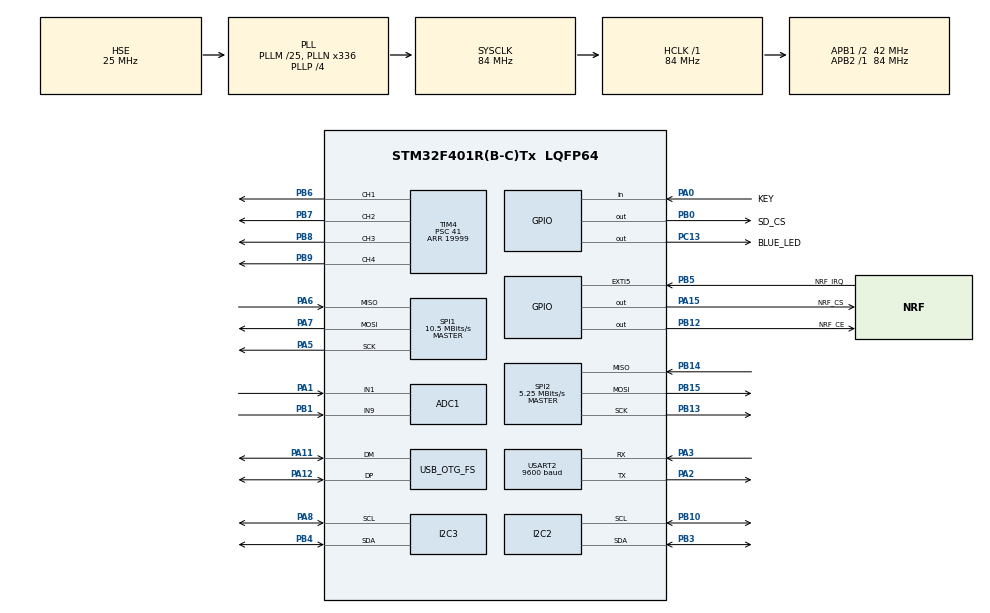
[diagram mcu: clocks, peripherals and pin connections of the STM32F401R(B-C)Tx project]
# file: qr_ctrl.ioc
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ADC1.Channel-1\#ChannelRegularConversion=ADC_CHANNEL_1
ADC1.Channel-2\#ChannelRegularConversion=ADC_CHANNEL_9
ADC1.ClockPrescaler=ADC_CLOCK_SYNC_PCLK_DIV8
ADC1.DMAContinuousRequests=ENABLE
ADC1.EOCSelection=ADC_EOC_SEQ_CONV
ADC1.ExternalTrigConv=ADC_EXTERNALTRIGCONV_T4_CC4
ADC1.InjNumberOfConversion=0
ADC1.NbrOfConversion=2
ADC1.NbrOfConversionFlag=1
ADC1.Rank-1\#ChannelRegularConversion=1
ADC1.Rank-2\#ChannelRegularConversion=2
ADC1.SamplingTime-1\#ChannelRegularConversion=ADC_SAMPLETIME_480CYCLES
ADC1.SamplingTime-2\#ChannelRegularConversion=ADC_SAMPLETIME_480CYCLES
ADC1.master=1
Dma.ADC1.4.Direction=DMA_PERIPH_TO_MEMORY
Dma.ADC1.4.FIFOMode=DMA_FIFOMODE_DISABLE
Dma.ADC1.4.Instance=DMA2_Stream4
Dma.ADC1.4.MemDataAlignment=DMA_MDATAALIGN_HALFWORD
Dma.ADC1.4.MemInc=DMA_MINC_ENABLE
Dma.ADC1.4.Mode=DMA_CIRCULAR
Dma.ADC1.4.PeriphDataAlignment=DMA_PDATAALIGN_HALFWORD
Dma.ADC1.4.PeriphInc=DMA_PINC_DISABLE
Dma.ADC1.4.Priority=DMA_PRIORITY_LOW
Dma.I2C2_RX.0.Direction=DMA_PERIPH_TO_MEMORY
Dma.I2C2_RX.0.FIFOMode=DMA_FIFOMODE_DISABLE
Dma.I2C2_RX.0.Instance=DMA1_Stream2
Dma.I2C2_RX.0.MemDataAlignment=DMA_MDATAALIGN_BYTE
Dma.I2C2_RX.0.MemInc=DMA_MINC_ENABLE
Dma.I2C2_RX.0.Mode=DMA_NORMAL
Dma.I2C2_RX.0.PeriphDataAlignment=DMA_PDATAALIGN_BYTE
Dma.I2C2_RX.0.PeriphInc=DMA_PINC_DISABLE
Dma.I2C2_RX.0.Priority=DMA_PRIORITY_MEDIUM
Dma.I2C2_TX.1.Direction=DMA_MEMORY_TO_PERIPH
Dma.I2C2_TX.1.FIFOMode=DMA_FIFOMODE_DISABLE
Dma.I2C2_TX.1.Instance=DMA1_Stream7
Dma.I2C2_TX.1.MemDataAlignment=DMA_MDATAALIGN_BYTE
Dma.I2C2_TX.1.MemInc=DMA_MINC_ENABLE
Dma.I2C2_TX.1.Mode=DMA_NORMAL
Dma.I2C2_TX.1.PeriphDataAlignment=DMA_PDATAALIGN_BYTE
Dma.I2C2_TX.1.PeriphInc=DMA_PINC_DISABLE
Dma.I2C2_TX.1.Priority=DMA_PRIORITY_MEDIUM
Dma.Request0=I2C2_RX
Dma.Request1=I2C2_TX
Dma.Request2=SPI1_RX
Dma.Request3=SPI1_TX
Dma.Request4=ADC1
Dma.Request5=SPI2_RX
Dma.Request6=SPI2_TX
Dma.SPI1_RX.2.Direction=DMA_PERIPH_TO_MEMORY
Dma.SPI1_RX.2.FIFOMode=DMA_FIFOMODE_DISABLE
Dma.SPI1_RX.2.Instance=DMA2_Stream0
Dma.SPI1_RX.2.MemDataAlignment=DMA_MDATAALIGN_BYTE
Dma.SPI1_RX.2.MemInc=DMA_MINC_ENABLE
Dma.SPI1_RX.2.Mode=DMA_NORMAL
Dma.SPI1_RX.2.PeriphDataAlignment=DMA_PDATAALIGN_BYTE
Dma.SPI1_RX.2.PeriphInc=DMA_PINC_DISABLE
Dma.SPI1_RX.2.Priority=DMA_PRIORITY_LOW
Dma.SPI1_TX.3.Direction=DMA_MEMORY_TO_PERIPH
Dma.SPI1_TX.3.FIFOMode=DMA_FIFOMODE_DISABLE
Dma.SPI1_TX.3.Instance=DMA2_Stream3
Dma.SPI1_TX.3.MemDataAlignment=DMA_MDATAALIGN_BYTE
Dma.SPI1_TX.3.MemInc=DMA_MINC_ENABLE
Dma.SPI1_TX.3.Mode=DMA_NORMAL
Dma.SPI1_TX.3.PeriphDataAlignment=DMA_PDATAALIGN_BYTE
Dma.SPI1_TX.3.PeriphInc=DMA_PINC_DISABLE
Dma.SPI1_TX.3.Priority=DMA_PRIORITY_LOW
Dma.SPI2_RX.5.Direction=DMA_PERIPH_TO_MEMORY
Dma.SPI2_RX.5.FIFOMode=DMA_FIFOMODE_DISABLE
Dma.SPI2_RX.5.Instance=DMA1_Stream3
Dma.SPI2_RX.5.MemDataAlignment=DMA_MDATAALIGN_BYTE
Dma.SPI2_RX.5.MemInc=DMA_MINC_ENABLE
Dma.SPI2_RX.5.Mode=DMA_NORMAL
Dma.SPI2_RX.5.PeriphDataAlignment=DMA_PDATAALIGN_BYTE
Dma.SPI2_RX.5.PeriphInc=DMA_PINC_DISABLE
Dma.SPI2_RX.5.Priority=DMA_PRIORITY_MEDIUM
Dma.SPI2_TX.6.Direction=DMA_MEMORY_TO_PERIPH
Dma.SPI2_TX.6.FIFOMode=DMA_FIFOMODE_DISABLE
Dma.SPI2_TX.6.Instance=DMA1_Stream4
Dma.SPI2_TX.6.MemDataAlignment=DMA_MDATAALIGN_BYTE
Dma.SPI2_TX.6.MemInc=DMA_MINC_ENABLE
Dma.SPI2_TX.6.Mode=DMA_NORMAL
Dma.SPI2_TX.6.PeriphDataAlignment=DMA_PDATAALIGN_BYTE
Dma.SPI2_TX.6.PeriphInc=DMA_PINC_DISABLE
Dma.SPI2_TX.6.Priority=DMA_PRIORITY_MEDIUM
I2C2.I2C_Mode=I2C_Fast
I2C3.I2C_Mode=I2C_Standard
Mcu.Family=STM32F4
Mcu.Name=STM32F401R(B-C)Tx
Mcu.Package=LQFP64
NVIC.DMA1_Stream2_IRQn=true\:7\:0\:true\:false\:true\:false\:true\:true
NVIC.DMA1_Stream3_IRQn=true\:7\:0\:true\:false\:true\:false\:true\:true
NVIC.DMA1_Stream4_IRQn=true\:7\:0\:true\:false\:true\:false\:true\:true
NVIC.DMA1_Stream7_IRQn=true\:7\:0\:true\:false\:true\:false\:true\:true
NVIC.DMA2_Stream0_IRQn=true\:8\:0\:true\:false\:true\:false\:true\:true
NVIC.DMA2_Stream3_IRQn=true\:8\:0\:true\:false\:true\:false\:true\:true
NVIC.DMA2_Stream4_IRQn=true\:8\:0\:true\:false\:true\:false\:true\:true
NVIC.EXTI9_5_IRQn=true\:7\:0\:true\:false\:true\:true\:true\:true
NVIC.I2C3_EV_IRQn=true\:8\:0\:true\:false\:true\:true\:true\:true
NVIC.OTG_FS_IRQn=true\:6\:0\:true\:false\:true\:false\:true\:true
NVIC.PriorityGroup=NVIC_PRIORITYGROUP_4
NVIC.TIM1_BRK_TIM9_IRQn=true\:5\:0\:true\:false\:true\:true\:true\:true
NVIC.TIM1_UP_TIM10_IRQn=true\:15\:0\:false\:false\:true\:false\:true\:true
NVIC.TimeBase=TIM1_UP_TIM10_IRQn
NVIC.TimeBaseIP=TIM1
NVIC.USART2_IRQn=true\:6\:0\:true\:false\:false\:true\:false\:true
PA0-WKUP.GPIO_Label=KEY
PA0-WKUP.Signal=GPIO_Input
PA1.Signal=ADCx_IN1
PA11.Mode=Device_Only
PA11.Signal=USB_OTG_FS_DM
PA12.Mode=Device_Only
PA12.Signal=USB_OTG_FS_DP
PA13.Mode=Serial_Wire
PA13.Signal=SYS_JTMS-SWDIO
PA14.Mode=Serial_Wire
PA14.Signal=SYS_JTCK-SWCLK
PA15.GPIO_Label=NRF_CS
PA15.GPIO_Speed=GPIO_SPEED_FREQ_HIGH
PA15.PinState=GPIO_PIN_SET
PA15.Signal=GPIO_Output
PA2.GPIO_Speed=GPIO_SPEED_FREQ_LOW
PA2.Mode=Asynchronous
PA2.Signal=USART2_TX
PA3.GPIO_Speed=GPIO_SPEED_FREQ_LOW
PA3.Mode=Asynchronous
PA3.Signal=USART2_RX
PA5.GPIO_Speed=GPIO_SPEED_FREQ_HIGH
PA5.Mode=Full_Duplex_Master
PA5.Signal=SPI1_SCK
PA6.GPIO_Speed=GPIO_SPEED_FREQ_HIGH
PA6.Mode=Full_Duplex_Master
PA6.Signal=SPI1_MISO
PA7.GPIO_Speed=GPIO_SPEED_FREQ_HIGH
PA7.Mode=Full_Duplex_Master
PA7.Signal=SPI1_MOSI
PA8.GPIO_Speed=GPIO_SPEED_FREQ_MEDIUM
PA8.Mode=I2C
PA8.Signal=I2C3_SCL
PB0.GPIO_Label=SD_CS
PB0.GPIO_Speed=GPIO_SPEED_FREQ_HIGH
PB0.PinState=GPIO_PIN_SET
PB0.Signal=GPIO_Output
PB1.Signal=ADCx_IN9
PB10.GPIO_Speed=GPIO_SPEED_FREQ_MEDIUM
PB10.Mode=I2C
PB10.Signal=I2C2_SCL
PB12.GPIO_Label=NRF_CE
PB12.GPIO_Speed=GPIO_SPEED_FREQ_LOW
PB12.Signal=GPIO_Output
PB13.GPIO_Speed=GPIO_SPEED_FREQ_HIGH
PB13.Mode=Full_Duplex_Master
PB13.Signal=SPI2_SCK
PB14.GPIO_Speed=GPIO_SPEED_FREQ_HIGH
PB14.Mode=Full_Duplex_Master
PB14.Signal=SPI2_MISO
PB15.GPIO_Speed=GPIO_SPEED_FREQ_HIGH
PB15.Mode=Full_Duplex_Master
PB15.Signal=SPI2_MOSI
PB3.GPIO_Speed=GPIO_SPEED_FREQ_MEDIUM
PB3.Mode=I2C
PB3.Signal=I2C2_SDA
PB4.GPIO_Speed=GPIO_SPEED_FREQ_MEDIUM
PB4.Mode=I2C
PB4.Signal=I2C3_SDA
PB5.GPIO_Label=NRF_IRQ
PB5.GPIO_ModeDefaultEXTI=GPIO_MODE_IT_FALLING
PB5.GPIO_PuPd=GPIO_NOPULL
PB5.Signal=GPXTI5
PB6.Signal=S_TIM4_CH1
PB7.Signal=S_TIM4_CH2
PB8.Signal=S_TIM4_CH3
PB9.Signal=S_TIM4_CH4
PC13-ANTI_TAMP.GPIO_Label=BLUE_LED
PC13-ANTI_TAMP.GPIO_PuPd=GPIO_PULLDOWN
PC13-ANTI_TAMP.Signal=GPIO_Output
PC14-OSC32_IN.Mode=LSE-External-Oscillator
PC14-OSC32_IN.Signal=RCC_OSC32_IN
PC15-OSC32_OUT.Mode=LSE-External-Oscillator
PC15-OSC32_OUT.Signal=RCC_OSC32_OUT
PH0\ -\ OSC_IN.Mode=HSE-External-Oscillator
PH0\ -\ OSC_IN.Signal=RCC_OSC_IN
PH1\ -\ OSC_OUT.Mode=HSE-External-Oscillator
PH1\ -\ OSC_OUT.Signal=RCC_OSC_OUT
ProjectManager.HeapSize=0x200
ProjectManager.StackSize=0x400
ProjectManager.TargetToolchain=Makefile
RCC.48MHZClocksFreq_Value=48000000
RCC.AHBFreq_Value=84000000
RCC.APB1CLKDivider=RCC_HCLK_DIV2
RCC.APB1Freq_Value=42000000
RCC.APB1TimFreq_Value=84000000
RCC.APB2Freq_Value=84000000
RCC.APB2TimFreq_Value=84000000
RCC.CortexFreq_Value=84000000
RCC.HCLKFreq_Value=84000000
RCC.HSE_VALUE=25000000
RCC.HSI_VALUE=16000000
RCC.PLLM=25
RCC.PLLN=336
RCC.PLLP=RCC_PLLP_DIV4
RCC.PLLQ=7
RCC.SYSCLKFreq_VALUE=84000000
RCC.SYSCLKSource=RCC_SYSCLKSOURCE_PLLCLK
RCC.VCOOutputFreq_Value=336000000
SH.ADCx_IN1.0=ADC1_IN1,IN1
SH.ADCx_IN9.0=ADC1_IN9,IN9
SH.S_TIM4_CH1.0=TIM4_CH1,PWM Generation1 CH1
SH.S_TIM4_CH2.0=TIM4_CH2,PWM Generation2 CH2
SH.S_TIM4_CH3.0=TIM4_CH3,PWM Generation3 CH3
SH.S_TIM4_CH4.0=TIM4_CH4,PWM Generation4 CH4
SPI1.BaudRatePrescaler=SPI_BAUDRATEPRESCALER_8
SPI1.CLKPhase=SPI_PHASE_2EDGE
SPI1.CLKPolarity=SPI_POLARITY_HIGH
SPI1.CalculateBaudRate=10.5 MBits/s
SPI1.Direction=SPI_DIRECTION_2LINES
SPI1.Mode=SPI_MODE_MASTER
SPI1.VirtualType=VM_MASTER
SPI2.BaudRatePrescaler=SPI_BAUDRATEPRESCALER_8
SPI2.CalculateBaudRate=5.25 MBits/s
SPI2.Direction=SPI_DIRECTION_2LINES
SPI2.Mode=SPI_MODE_MASTER
SPI2.VirtualType=VM_MASTER
TIM4.Channel-PWM\ Generation1\ CH1=TIM_CHANNEL_1
TIM4.Channel-PWM\ Generation2\ CH2=TIM_CHANNEL_2
TIM4.Channel-PWM\ Generation3\ CH3=TIM_CHANNEL_3
TIM4.Channel-PWM\ Generation4\ CH4=TIM_CHANNEL_4
TIM4.Period=19999
TIM4.Prescaler=41
TIM9.Period=999
TIM9.Prescaler=83
USART2.BaudRate=9600
USART2.Mode=MODE_RX
USART2.VirtualMode=VM_ASYNC
USB_DEVICE.CLASS_NAME_FS=CDC
USB_DEVICE.VirtualMode=Cdc
USB_DEVICE.VirtualModeFS=Cdc_FS
USB_OTG_FS.VirtualMode=Device_Only
VP_SYS_VS_tim1.Mode=TIM1
VP_TIM9_VS_ClockSourceINT.Mode=Internal
VP_USB_DEVICE_VS_USB_DEVICE_CDC_FS.Mode=CDC_FS
board=custom

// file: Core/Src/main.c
/* USER CODE BEGIN Header */
/**
 ******************************************************************************
 * @file           : main.c
 * @brief          : Main program body
 ******************************************************************************
 * @attention
 *
 * Copyright (c) 2022 STMicroelectronics.
 * All rights reserved.
 *
 * This software is licensed under terms that can be found in the LICENSE file
 * in the root directory of this software component.
 * If no LICENSE file comes with this software, it is provided AS-IS.
 *
 ******************************************************************************
 */
/* USER CODE END Header */
#include "main.h"
#include "adc.h"
#include "dma.h"
#include "i2c.h"
#include "spi.h"
#include "tim.h"
#include "usart.h"
#include "usb_device.h"
#include "gpio.h"

/* USER CODE BEGIN Includes */
#include "usbd_cdc_if.h"
#include "dwt_delay.h"
#include "FreeRTOS.h"
#include "task.h"
#include "stream_buffer.h"
#include "rtos_bus.h"
#include "lps22hb.h"
// #include "icm20948.h"
#include "ak09916.h"
#include "VL53L1X_api.h"
#include "nrf24l01p.h"
#include "nrf_payload.h"
#include "math.h"
#include "ahrs.h"
#include "diskio.h"
#include "sd_record.h"
#include "mpu9250.h"
/* USER CODE END Includes */

/* USER CODE BEGIN PD */

/* Enable/Disable tasks */
#define RADIO_TASK
#define SENSOR_TASK
// #define TOF_TASK
#define GPS_TASK
#define SD_TASK
#define ADC_TASK
#define CTRL_TASK
#define MSG_TASK

/* ESC calibration mode */
#define ESC_CALIBRATION

/* Module initialize failed number */
enum module_init_failed_id {
  MODULE_FAILED_NRF24L01P,
  MODULE_FAILED_TOF,
  MODULE_FAILED_LPS22HB,
  MODULE_FAILED_MPU9250,
  MODULE_FAILED_AK8963
};

#define VL53L1X_ADDR        0x52

#define CTRL_FREQ           100
#define MOTOR_DUTY_RANGE    2000 /* esc standard: 1-2ms, pwm arr: 2000-3999 */
#define MOTOR_CTRL_RANGE    MOTOR_DUTY_RANGE * 0.2
#define MOTOR_INITIAL_DUTY  0  /* max: 1999, must more than zero to lock ESC */
#define MAX_THROTTLE        MOTOR_DUTY_RANGE * 0.9 /* max:  90% duty */

#define MIN_THRUST          0.35F
#define MAX_THRUST          7.0F

#define TIME_PER_TICK       0.002F

#define RAD2DEG             57.29577F
#define DEG2RAD             0.017453292F

/* GPS buffer size */
#define GPS_BUFFER_SIZE     128

/* SD card recording buffer size */
#define SD_BUFFER_SIZE      2048
#define SD_BUFFER_LEVEL     512

/* SD recording mode configuration */
// #define REC_ONE_CYCLE_MODE
#define REC_CYCLE_MS        10000
#define REC_THROTTLE_TRIGGER_MODE

/* Select SD recording data */
#define REC_IMU
#define REC_MAG
#define REC_BARO
// #define REC_TOF
// #define REC_BATTERY
#define REC_ATT
#define REC_CTRL

/* GPS header and address ID of NAV_SOL */
#define GPS_HEADER_1        0xB5 /* Sync char 1 */
#define GPS_HEADER_2        0x62 /* Sync char 2 */
#define GPS_NAV             0x01 /* Class */
#define GPS_NAV_SOL         0x06 /* ID */
/* GPS get symbol status */
#define GPS_RECEIVE_SYNC_1    0
#define GPS_RECEIVE_SYNC_2    1
#define GPS_RECEIVE_DATA      2

/* ADC moving average window size */
#define ADC_MA_WINDOW_SIZE    10
/* USER CODE END PD */

/* USER CODE BEGIN PM */
#define ENU2NED(enu_x, enu_y, enu_z)  \
  do {                                \
    float tmp = enu_x;                \
                                      \
    enu_x = enu_y;                    \
    enu_y = tmp;                      \
    enu_z = -enu_z;                   \
  } while (0)
/* USER CODE END PM */

/* USER CODE BEGIN PV */
TaskHandle_t radio_handler;
TaskHandle_t sensor_handler;
TaskHandle_t tof_handler;
TaskHandle_t gps_handler;
TaskHandle_t sd_handler;
TaskHandle_t adc_handler;
TaskHandle_t ctrl_handler;
TaskHandle_t msg_handler;

StreamBufferHandle_t sd_buf_handler;
/* Use sensor task(same as systick) to store current tick */
TickType_t current_tick;

struct payload pl;
struct ack_payload ack_pl;

struct sensor_data {
  float ax;
  float ay;
  float az;
  float gx;
  float gy;
  float gz;
  float mx;
  float my;
  float mz;
  float pressure;
  float temperature;
  uint16_t distance;
} sensor;

struct attitude {
  float q[4];
  float roll;
  float pitch;
  float yaw;
  float sp_roll;
  float sp_pitch;
  float sp_yaw;
} att;

struct position {
  float distance;
  float height;
  float sp_height;
} pos;

float world_linear_az;
struct battery {
  float voltage;
  float current;
} bat;

uint16_t throttle;
uint16_t motor[4];

struct ctrl_parameter {
  float P;
  float I;
  float D;
  uint8_t mode;
} ctrl_param;

float fault_ratio;
int motor_fault_id;

uint8_t motor_bias[4];

/* Variable of sd spi timer (ms) */
WORD Timer1, Timer2;

/* SD card recording status (don't need suspend task) */
uint8_t rec_status = REC_STATUS_PROCESS_INIT;

/* GPS buffer (transfer by double buffer) */
uint8_t gps_buffer[2][GPS_BUFFER_SIZE];
uint8_t gps_rx_buf_id;
uint8_t *gps_rx_ptr;
uint16_t gps_rx_cnt;
uint8_t gps_receive_status;
uint8_t gps_sv_status; /* 0: cksum not pass or svNum = 0, else: svNum */
uint16_t gps_data_length;
struct gps_nav_sol {
  uint32_t iTOW;
  int32_t fTOW;
  int16_t week;
  uint8_t gpsFix;
  int8_t flags;
  int32_t ecefX;
  int32_t ecefY;
  int32_t ecefZ;
  uint32_t pAcc;
  int32_t ecefVX;
  int32_t ecefVY;
  int32_t ecefVZ;
  uint32_t sAcc;
  uint16_t pDOP;
  uint8_t reserved1;
  uint8_t numSV;
  uint32_t reserved2;
};
struct gps_nav_sol *gps_nav_sol_data;
/* USER CODE END PV */

void SystemClock_Config(void);
/* USER CODE BEGIN PFP */
static void radio_task(void *param);
static void sensor_task(void *param);
static void tof_task(void *param);
static void gps_task(void *param);
static void sd_task(void *param);
static void adc_task(void *param);
static void ctrl_task(void *param);
static void msg_task(void *param);

void module_init_failed(enum module_init_failed_id id)
{
  char msg[100], len, count;

  switch (id) {
  case MODULE_FAILED_NRF24L01P:
    len = snprintf(msg, 100, "Initialize NRF24L01+ failed...\n");
    break;
  case MODULE_FAILED_TOF:
    len = snprintf(msg, 100, "Initialize TOF module failed...\n");
    break;
  case MODULE_FAILED_LPS22HB:
    len = snprintf(msg, 100, "Initialize LPS22HB failed...\n");
    break;
  case MODULE_FAILED_MPU9250:
    len = snprintf(msg, 100, "Initialize MPU9250 failed...\n");
    break;
  case MODULE_FAILED_AK8963:
    len = snprintf(msg, 100, "Initialize AK8963 failed...\n");
    break;
  default:
    len = snprintf(msg, 100, "Initialize not defined failed...\n");
  }
  while (1) {
    CDC_Transmit_FS((uint8_t *)msg, len);
    count = id + 1;

    do {
      HAL_GPIO_TogglePin(BLUE_LED_GPIO_Port, BLUE_LED_Pin);
      HAL_Delay(250);
      HAL_GPIO_TogglePin(BLUE_LED_GPIO_Port, BLUE_LED_Pin);
      HAL_Delay(250);
    } while (--count);

    HAL_Delay(1000);
  }
}
extern void attitude_err(float q[4], float sp_r, float sp_p, float sp_y,
                         float err[3]);
/* USER CODE END PFP */

int main(void)
{

  /* MCU Configuration--------------------------------------------------------*/

  /* Reset of all peripherals, Initializes the Flash interface and the Systick. */
  HAL_Init();

  /* USER CODE BEGIN Init */
	BaseType_t status;
  /* USER CODE END Init */

  /* Configure the system clock */
  SystemClock_Config();

  /* USER CODE BEGIN SysInit */
  DWT_Init();
  /* USER CODE END SysInit */

  /* Initialize all configured peripherals */
  MX_GPIO_Init();
  MX_DMA_Init();
  MX_ADC1_Init();
  MX_I2C2_Init();
  MX_I2C3_Init();
  MX_SPI1_Init();
  MX_SPI2_Init();
  MX_TIM4_Init();
  MX_TIM9_Init();
  MX_USART2_UART_Init();
  MX_USB_DEVICE_Init();
  /* USER CODE BEGIN 2 */
  HAL_TIM_Base_Start_IT(&htim9);

  /* initialize global variable */
  memset(&sensor, 0, sizeof(struct sensor_data));
  memset(&att, 0, sizeof(struct attitude));
  memset(&pos, 0, sizeof(struct position));
  memset(&bat, 0, sizeof(struct battery));
  memset(&pl, 0, PAYLOAD_WIDTH);
  memset(&ack_pl, 0, ACK_PAYLOAD_WIDTH);
  memset(&ctrl_param, 0, sizeof(struct ctrl_parameter));
  memset(gps_buffer, 0, 2 * GPS_BUFFER_SIZE);
  fault_ratio = 0;
  motor_fault_id = 0;
  memset(motor_bias, 0, sizeof(motor_bias));

	#ifdef ESC_CALIBRATION
  __HAL_TIM_SET_COMPARE(&htim4, TIM_CHANNEL_1, MOTOR_DUTY_RANGE + 1999);
  __HAL_TIM_SET_COMPARE(&htim4, TIM_CHANNEL_2, MOTOR_DUTY_RANGE + 1999);
  __HAL_TIM_SET_COMPARE(&htim4, TIM_CHANNEL_3, MOTOR_DUTY_RANGE + 1999);
  __HAL_TIM_SET_COMPARE(&htim4, TIM_CHANNEL_4, MOTOR_DUTY_RANGE + 1999);
  HAL_TIM_PWM_Start(&htim4, TIM_CHANNEL_1);
  HAL_TIM_PWM_Start(&htim4, TIM_CHANNEL_2);
  HAL_TIM_PWM_Start(&htim4, TIM_CHANNEL_3);
  HAL_TIM_PWM_Start(&htim4, TIM_CHANNEL_4);

  HAL_Delay(3000);

  throttle = MOTOR_INITIAL_DUTY;
  for (uint8_t i = 0; i < 4; i++) {
    motor[i] = throttle;
  }
  __HAL_TIM_SET_COMPARE(&htim4, TIM_CHANNEL_1, MOTOR_DUTY_RANGE + motor[0]);
  __HAL_TIM_SET_COMPARE(&htim4, TIM_CHANNEL_2, MOTOR_DUTY_RANGE + motor[1]);
  __HAL_TIM_SET_COMPARE(&htim4, TIM_CHANNEL_3, MOTOR_DUTY_RANGE + motor[2]);
  __HAL_TIM_SET_COMPARE(&htim4, TIM_CHANNEL_4, MOTOR_DUTY_RANGE + motor[3]);
  #endif
  /* Wait 1 sec to power up and mechanical vibration */
  HAL_Delay(3000);

  set_bus_mode(BUS_POLLING_MODE); /* set bus to blocking mode */

#ifdef RADIO_TASK
  struct nrf24l01p_cfg nrf24l01p_param = {
    .mode = PRX_MODE,
    .crc_len = CRC_TWO_BYTES,
    .air_data_rate = _2Mbps,
    .output_power = _0dBm,
    .channel = 2502,
    .address_width = 5,
    .auto_retransmit_count = 6,
    .auto_retransmit_delay = 750
  };
  if (nrf24l01p_init(&nrf24l01p_param))
    module_init_failed(MODULE_FAILED_NRF24L01P);
#endif
#ifdef TOF_TASK
  uint8_t try_count = 10, tof_state = 0;
  int8_t st = 0;
  do {
    st = VL53L1X_BootState(VL53L1X_ADDR, &tof_state);
  } while (--try_count && !tof_state);
  if (st != 0)
    module_init_failed(MODULE_FAILED_TOF);

  if (!tof_state)
    module_init_failed(MODULE_FAILED_TOF);
  if (VL53L1X_SensorInit(VL53L1X_ADDR))
    module_init_failed(MODULE_FAILED_TOF);
  if (VL53L1X_SetDistanceMode(VL53L1X_ADDR, 2))
    module_init_failed(MODULE_FAILED_TOF);
  if (VL53L1X_SetTimingBudgetInMs(VL53L1X_ADDR, 33))
    module_init_failed(MODULE_FAILED_TOF);
  if (VL53L1X_SetInterMeasurementInMs(VL53L1X_ADDR, 50))
    module_init_failed(MODULE_FAILED_TOF);
  if (VL53L1X_StartRanging(VL53L1X_ADDR))
    module_init_failed(MODULE_FAILED_TOF);
#endif
#ifdef SENSOR_TASK
	struct lps22hb_cfg lps22hb = {
   .mode = LPS22HB_STREAM_MODE,
		.odr = LPS22HB_75HZ,
		.lpf = LPS22HB_BW_ODR_DIV_9,
		.ref_press = 0.0
	};
	if (lps22hb_init(lps22hb))
    module_init_failed(MODULE_FAILED_LPS22HB);

  status = mpu9250_init(1000, GYRO_FS_2000DPS, ACCEL_FS_16G,
                        GYRO_LP_99HZ, ACCEL_LP_92HZ);
  if (status == 1)
    module_init_failed(MODULE_FAILED_MPU9250);
  else if (status == 2)
    module_init_failed(MODULE_FAILED_AK8963);

  mpu9250_read_imu(&sensor.ax, &sensor.ay, &sensor.az,
                   &sensor.gx, &sensor.gy, &sensor.gz);
  mpu9250_read_mag(&sensor.mx, &sensor.my, &sensor.mz);
  ENU2NED(sensor.ax, sensor.ay, sensor.az);
  ENU2NED(sensor.mx, sensor.my, sensor.mz);
  ahrs_init(sensor.ax, sensor.ay, sensor.az,
            sensor.mx, sensor.my, sensor.mz);
  // ahrs_init_imu(sensor.ax, sensor.ay, sensor.az);
  ahrs2euler(&att.roll, &att.pitch, &att.yaw);
  att.sp_yaw = att.yaw;
#endif

  set_bus_mode(BUS_INTERRUPT_MODE); /* set bus to non blocking mode */

#ifndef ESC_CALIBRATION
  throttle = MOTOR_INITIAL_DUTY;
  for (uint8_t i = 0; i < 4; i++) {
    motor[i] = throttle;
  }
  __HAL_TIM_SET_COMPARE(&htim4, TIM_CHANNEL_1, MOTOR_DUTY_RANGE + motor[0]);
  __HAL_TIM_SET_COMPARE(&htim4, TIM_CHANNEL_2, MOTOR_DUTY_RANGE + motor[1]);
  __HAL_TIM_SET_COMPARE(&htim4, TIM_CHANNEL_3, MOTOR_DUTY_RANGE + motor[2]);
  __HAL_TIM_SET_COMPARE(&htim4, TIM_CHANNEL_4, MOTOR_DUTY_RANGE + motor[3]);
  HAL_TIM_PWM_Start(&htim4, TIM_CHANNEL_1);
  HAL_TIM_PWM_Start(&htim4, TIM_CHANNEL_2);
  HAL_TIM_PWM_Start(&htim4, TIM_CHANNEL_3);
  HAL_TIM_PWM_Start(&htim4, TIM_CHANNEL_4);
#endif
	vSetVarulMaxPRIGROUPValue();
#if (SEGGER_UART_REC == 1)
	SEGGER_UART_init(1500000);
	SEGGER_SYSVIEW_Conf();
#endif
#ifdef RADIO_TASK
  status = xTaskCreate(radio_task, "radio_task", 200, NULL, 4, &radio_handler);
	configASSERT(status == pdPASS);
#endif
#ifdef SENSOR_TASK
  status = xTaskCreate(sensor_task, "sensor_task", 500, NULL, 4, &sensor_handler);
  configASSERT(status == pdPASS);
#endif
#ifdef TOF_TASK
  status = xTaskCreate(tof_task, "tof_task", 200, NULL, 3, &tof_handler);
  configASSERT(status == pdPASS);
#endif
#ifdef GPS_TASK
  status = xTaskCreate(gps_task, "gps_task", 200, NULL, 3, &gps_handler);
  configASSERT(status == pdPASS);
#endif
#ifdef SD_TASK
  status = xTaskCreate(sd_task, "sd_task", 600, NULL, 3, &sd_handler);
  configASSERT(status == pdPASS);
  sd_buf_handler = xStreamBufferCreate(SD_BUFFER_SIZE, SD_BUFFER_LEVEL);
  configASSERT(sd_buf_handler);
#endif
#ifdef ADC_TASK
	status = xTaskCreate(adc_task, "adc_task", 200, NULL, 3, &adc_handler);
	configASSERT(status == pdPASS);
#endif
#ifdef CTRL_TASK
	status = xTaskCreate(ctrl_task, "ctrl_task", 500, NULL, 2, &ctrl_handler);
  configASSERT(status == pdPASS);
#endif
#ifdef MSG_TASK
	status = xTaskCreate(msg_task, "msg_task", 500, NULL, 1, &msg_handler);
	configASSERT(status == pdPASS);
#endif
	vTaskStartScheduler();

  /* USER CODE END 2 */

  /* Infinite loop */
	while (1) {

	}
}

void SystemClock_Config(void)
{
  RCC_OscInitTypeDef RCC_OscInitStruct = {0};
  RCC_ClkInitTypeDef RCC_ClkInitStruct = {0};

  /** Configure the main internal regulator output voltage
  */
  __HAL_RCC_PWR_CLK_ENABLE();
  __HAL_PWR_VOLTAGESCALING_CONFIG(PWR_REGULATOR_VOLTAGE_SCALE2);

  /** Initializes the RCC Oscillators according to the specified parameters
  * in the RCC_OscInitTypeDef structure.
  */
  RCC_OscInitStruct.OscillatorType = RCC_OSCILLATORTYPE_HSE;
  RCC_OscInitStruct.HSEState = RCC_HSE_ON;
  RCC_OscInitStruct.PLL.PLLState = RCC_PLL_ON;
  RCC_OscInitStruct.PLL.PLLSource = RCC_PLLSOURCE_HSE;
  RCC_OscInitStruct.PLL.PLLM = 25;
  RCC_OscInitStruct.PLL.PLLN = 336;
  RCC_OscInitStruct.PLL.PLLP = RCC_PLLP_DIV4;
  RCC_OscInitStruct.PLL.PLLQ = 7;
  if (HAL_RCC_OscConfig(&RCC_OscInitStruct) != HAL_OK)
  {
    Error_Handler();
  }

  /** Initializes the CPU, AHB and APB buses clocks
  */
  RCC_ClkInitStruct.ClockType = RCC_CLOCKTYPE_HCLK|RCC_CLOCKTYPE_SYSCLK
                              |RCC_CLOCKTYPE_PCLK1|RCC_CLOCKTYPE_PCLK2;
  RCC_ClkInitStruct.SYSCLKSource = RCC_SYSCLKSOURCE_PLLCLK;
  RCC_ClkInitStruct.AHBCLKDivider = RCC_SYSCLK_DIV1;
  RCC_ClkInitStruct.APB1CLKDivider = RCC_HCLK_DIV2;
  RCC_ClkInitStruct.APB2CLKDivider = RCC_HCLK_DIV1;

  if (HAL_RCC_ClockConfig(&RCC_ClkInitStruct, FLASH_LATENCY_2) != HAL_OK)
  {
    Error_Handler();
  }
}

/* USER CODE BEGIN 4 */
/* Interrupt Callback */
void HAL_GPIO_EXTI_Callback(uint16_t GPIO_Pin)
{
  BaseType_t xHigherPriorityTaskWoken = pdFALSE;

  if (GPIO_Pin == NRF_IRQ_Pin) {
    vTaskNotifyGiveFromISR(radio_handler, &xHigherPriorityTaskWoken);
  }
  portYIELD_FROM_ISR(xHigherPriorityTaskWoken);
}

void HAL_I2C_MemTxCpltCallback(I2C_HandleTypeDef *hi2c)
{
  BaseType_t xHigherPriorityTaskWoken = pdFALSE;

  if (hi2c->Instance == hi2c2.Instance) {
    vTaskNotifyGiveFromISR(sensor_handler, &xHigherPriorityTaskWoken);
  } else if (hi2c->Instance == hi2c3.Instance) {
    vTaskNotifyGiveFromISR(tof_handler, &xHigherPriorityTaskWoken);
  }
  portYIELD_FROM_ISR(xHigherPriorityTaskWoken);
}

void HAL_I2C_MemRxCpltCallback(I2C_HandleTypeDef *hi2c)
{
  BaseType_t xHigherPriorityTaskWoken = pdFALSE;

  if (hi2c->Instance == hi2c2.Instance) {
    vTaskNotifyGiveFromISR(sensor_handler, &xHigherPriorityTaskWoken);
  } else if (hi2c->Instance == hi2c3.Instance) {
    vTaskNotifyGiveFromISR(tof_handler, &xHigherPriorityTaskWoken);
  }
  portYIELD_FROM_ISR(xHigherPriorityTaskWoken);
}

void HAL_SPI_TxCpltCallback(SPI_HandleTypeDef *hspi)
{
  BaseType_t xHigherPriorityTaskWoken = pdFALSE;

  if (hspi->Instance == hspi1.Instance) {
    vTaskNotifyGiveFromISR(sd_handler, &xHigherPriorityTaskWoken);
  } else if (hspi->Instance == hspi2.Instance) {
    vTaskNotifyGiveFromISR(radio_handler, &xHigherPriorityTaskWoken);
  }
  portYIELD_FROM_ISR(xHigherPriorityTaskWoken);
}

void HAL_SPI_TxRxCpltCallback(SPI_HandleTypeDef *hspi)
{
  BaseType_t xHigherPriorityTaskWoken = pdFALSE;

  if (hspi->Instance == hspi1.Instance) {
    vTaskNotifyGiveFromISR(sd_handler, &xHigherPriorityTaskWoken);
  } else if (hspi->Instance == hspi2.Instance) {
    vTaskNotifyGiveFromISR(radio_handler, &xHigherPriorityTaskWoken);
  }
  portYIELD_FROM_ISR(xHigherPriorityTaskWoken);
}

void HAL_SPI_RxCpltCallback(SPI_HandleTypeDef *hspi)
{
  BaseType_t xHigherPriorityTaskWoken = pdFALSE;

  if (hspi->Instance == hspi2.Instance) {
    vTaskNotifyGiveFromISR(radio_handler, &xHigherPriorityTaskWoken);
  }
  portYIELD_FROM_ISR(xHigherPriorityTaskWoken);
}

void HAL_ADC_ConvCpltCallback(ADC_HandleTypeDef *hadc)
{
  BaseType_t xHigherPriorityTaskWoken = pdFALSE;

  vTaskNotifyGiveFromISR(adc_handler, &xHigherPriorityTaskWoken);

  portYIELD_FROM_ISR(xHigherPriorityTaskWoken);
}

void USART2_IRQHandler(void)
{
  traceISR_ENTER();

  if (USART2->SR & USART_SR_RXNE) {
    *gps_rx_ptr = (uint8_t)USART2->DR;

    if (gps_receive_status == GPS_RECEIVE_DATA) {
      gps_rx_cnt++;
      gps_rx_ptr++;

      if (gps_rx_cnt < 4) {
        /* Do nothing */
      } else if (gps_rx_cnt == 4) { /* Get data length */
        gps_data_length = *(gps_rx_ptr - 2);
        gps_data_length |= (uint16_t)(*(gps_rx_ptr - 1)) << 8;
      } else if (gps_rx_cnt == gps_data_length + 6) {
        /* Call GPS task after get CK_B */
        BaseType_t xHigherPriorityTaskWoken = pdFALSE;
        /* Swich to another gps buffer */
        gps_rx_buf_id = !gps_rx_buf_id;
        gps_rx_ptr = gps_buffer[gps_rx_buf_id];
        /* Initialize index and status */
        gps_rx_cnt = 0;
        gps_receive_status = GPS_RECEIVE_SYNC_1;

        vTaskNotifyGiveFromISR(gps_handler, &xHigherPriorityTaskWoken);

        portYIELD_FROM_ISR(xHigherPriorityTaskWoken);
      }
    } else if (gps_receive_status == GPS_RECEIVE_SYNC_1) {
      if (*gps_rx_ptr == GPS_HEADER_1)
        gps_receive_status = GPS_RECEIVE_SYNC_2;
    } else if (gps_receive_status == GPS_RECEIVE_SYNC_2) {
      gps_receive_status = (*gps_rx_ptr == GPS_HEADER_2) ?
                           GPS_RECEIVE_DATA : GPS_RECEIVE_SYNC_1;
    }
  }
  traceISR_EXIT();
}

/* Task Function */
static void radio_task(void *param)
{
  uint8_t start_flag = 1;
  uint8_t disconnect_count = 0;
  int32_t tmp;
  float yaw_input = 0.f;

  while (1) {
    if (start_flag) {
      nrf24l01p_start_rx();
      start_flag = 0;
    }
    /* If lost connected 1 sec, landing by minus 100 throttle every 500 ms */
    if (disconnect_count > 10) {
      ctrl_param.mode = NORMAL_MODE;
      tmp = (int32_t)throttle;
      tmp -= 100;
      if (tmp < 0)
        throttle = 0;
      else
        throttle = tmp;
      att.sp_roll = 0;
      att.sp_pitch = 0;
      vTaskDelay(pdMS_TO_TICKS(500));
    } else if (ulTaskNotifyTake(pdFALSE, pdMS_TO_TICKS(100)) != 0) {
      vTaskDelay(pdMS_TO_TICKS(2));
      nrf24l01p_receive((uint8_t *)&pl);
      nrf24l01p_write_ack_payload((uint8_t *)&ack_pl, ACK_PAYLOAD_WIDTH);
      /* decode payload */
      if (pl.throttle < MAX_THROTTLE && pl.throttle >= 0)
        DECODE_PAYLOAD_THROTTLE(pl.throttle, throttle);
      if (throttle == 0)
        att.sp_yaw = att.yaw;
      DECODE_PAYLOAD_RADIUS(pl.sp_roll, att.sp_roll);
      DECODE_PAYLOAD_RADIUS(pl.sp_pitch, att.sp_pitch);
      /* Yaw input need to higher than 0.1 deg */
      if (pl.sp_yaw_rate > 18 || pl.sp_yaw_rate < -18) {
        DECODE_PAYLOAD_RADIUS(pl.sp_yaw_rate, yaw_input);
        att.sp_yaw += yaw_input;
      }
      DECODE_PAYLOAD_HEIGHT(pl.sp_height, pos.sp_height);
      DECODE_PAYLOAD_CTRL_PI_GAIN(pl.P, ctrl_param.P);
      DECODE_PAYLOAD_CTRL_PI_GAIN(pl.I, ctrl_param.I);
      DECODE_PAYLOAD_CTRL_D_GAIN(pl.D, ctrl_param.D);
      DECODE_PAYLOAD_MODE(pl.mode, ctrl_param.mode);
      DECODE_PAYLOAD_FAULT_RATIO(pl.fault_ratio, fault_ratio);
      disconnect_count = 0;
    } else {
      disconnect_count++;
    }
  }
}

void rec_data(void *data)
{
  uint32_t mark;
  uint32_t *tick_ptr;
  size_t size = 0, write_size;

  if ((rec_status & REC_STATUS_PROCESS_MASK) == REC_STATUS_PROCESS_UNDONE) {
#ifdef REC_ONE_CYCLE_MODE
    if (current_tick > pdMS_TO_TICKS(REC_CYCLE_MS)) {
      rec_status &= ~REC_STATUS_PROCESS_MASK;
      rec_status |= REC_STATUS_PROCESS_END;
      return;
    }
#endif
    mark = *((uint32_t *)data);
    tick_ptr = (uint32_t *)(data + 4);
    *tick_ptr = current_tick;

    switch (mark) {
    case REC_MARK_IMU:
      size = sizeof(struct rec_imu);
      break;
    case REC_MARK_MAG:
      size = sizeof(struct rec_mag);
      break;
    case REC_MARK_BARO:
      size = sizeof(struct rec_baro);
      break;
    case REC_MARK_TOF:
      size = sizeof(struct rec_tof);
      break;
    case REC_MARK_BATTERY:
      size = sizeof(struct rec_battery);
      break;
    case REC_MARK_ATT:
      size = sizeof(struct rec_att);
      break;
    case REC_MARK_CTRL:
      size = sizeof(struct rec_ctrl);
      break;
    }
    vTaskSuspendAll();
    write_size = xStreamBufferSend(sd_buf_handler, data, size, 0);
    xTaskResumeAll();
    if (write_size < size) {
      rec_status &= ~REC_STATUS_PROCESS_MASK;
      rec_status |= REC_STATUS_WRITE_BUFFER_ERROR |
                    REC_STATUS_PROCESS_END;
    }
  }
}

/* x[order + 1], y[order + 1]
 * y[0] = x[0] * num[0] + x[1] * num[1] + ...
 *       -y[1] * den[1] - y[2] * den[2]
 */
void IIR_filter(int order, float *num, float *den, float *x, float *y)
{
  int i;

  for (i = order; i > 0; i--) {
    y[i] = y[i - 1];
  }
  y[0] = num[0] * x[0];
  for (i = 1; i <= order; i++) {
    y[0] += num[i] * x[i] - den[i] * y[i];
  }
  for (i = order; i > 0; i--) {
    x[i] = x[i - 1];
  }
}

float movavg(float *data, float val, uint8_t id, int size)
{
  float total = 0;

  data[id] = val;

  for (int i = 0; i < size; i++) {
    total += data[i];
  }
  return total / size;
}

static void sensor_task(void *param)
{
  TickType_t mag_tick = 0, baro_tick = 0;
  float dt = TIME_PER_TICK;
  float ax, ay, az, gx, gy, gz;
  float mx, my, mz, mag_square;
  float press, temp;
  uint8_t mag_ready = 0;
  uint8_t imu_ma_id = {0};
  uint8_t sp_ma_id = {0};
  float ma_ax[5] = {0}, ma_ay[5] = {0}, ma_az[5] = {0};
  float ma_gx[5] = {0}, ma_gy[5] = {0}, ma_gz[5] = {0};
  float ma_spr[10] = {0}, ma_spp[10] = {0}, ma_spy[10] = {0};
  struct rec_imu imu_data = {
    REC_MARK_IMU, 0, 0, 0, 0, 0, 0, 0, 0,
  };
  struct rec_mag mag_data = {
    REC_MARK_MAG, 0, 0, 0, 0
  };
  struct rec_baro baro_data = {
    REC_MARK_BARO, 0, 0, 0, 0
  };
  struct rec_att att_data = {
    REC_MARK_ATT, 0, 0, 0, 0, 0, 0
  };

  while (1) {
    current_tick = xTaskGetTickCount();
    if (!mpu9250_read_imu(&ax, &ay, &az, &gx, &gy, &gz)) {
      ENU2NED(gx, gy, gz);
      ENU2NED(ax, ay, az);
      gx *= DEG2RAD;
      gy *= DEG2RAD;
      gz *= DEG2RAD;
      ax = movavg(ma_ax, ax, imu_ma_id, 5);
      ay = movavg(ma_ay, ay, imu_ma_id, 5);
      az = movavg(ma_az, az, imu_ma_id, 5);
      sensor.ax = ax;
      sensor.ay = ay;
      sensor.az = az;
      gx = movavg(ma_gx, gx, imu_ma_id, 5);
      gy = movavg(ma_gy, gy, imu_ma_id, 5);
      gz = movavg(ma_gz, gz, imu_ma_id, 5);
      sensor.gx = gx;
      sensor.gy = gy;
      sensor.gz = gz;
      if ((++imu_ma_id) == 5)
        imu_ma_id = 0;
      world_linear_az = ahrs_world_linear_az(ax, ay, az);
#ifdef REC_IMU
      memcpy(&imu_data.ax, &sensor.ax, 24);
      imu_data.world_linear_az = world_linear_az;
      rec_data(&imu_data);
#endif
    }
    mag_ready = 0;
    if (mag_tick == pdMS_TO_TICKS(10)) {
      if (!mpu9250_read_mag(&mx, &my, &mz)) {
        mag_square = mx * mx + my * my + mz * mz;
        /* check if disturbed or not by square */
        /* 25 uT < norm(mag) < 70 uT */
        if ((mag_square > 625.f) && (mag_square < 4900.f)) {
          ENU2NED(mx, my, mz);
          sensor.mx = mx;
          sensor.my = my;
          sensor.mz = mz;
#ifdef REC_MAG
          memcpy(&mag_data.mx, &sensor.mx, 12);
          rec_data(&mag_data);
#endif
          mag_ready = 1;
        }
      }
      mag_tick = 0;
    }
    if (baro_tick == pdMS_TO_TICKS(20)) {
      if (!(*lps22hb_read_data)(&press, &temp)) {
        sensor.pressure = press;
        sensor.temperature = temp;
        pos.height = (powf(1013.25 / press, 1 / 5.257) - 1.0) *
                     (temp + 273.15) / 0.0065;
#ifdef REC_BARO
        memcpy(&baro_data.press, &sensor.pressure, 8);
        baro_data.height = pos.height;
        rec_data(&baro_data);
#endif
      }
      baro_tick = 0;
    }
    mag_tick++;
    baro_tick++;
    /* Update attitude */
    if (mag_ready)
      ahrs_update_marg(gx, gy, gz, ax, ay, az, mx, my, mz, dt);
    else
      ahrs_update_imu(gx, gy, gz, ax, ay, az, dt);
    ahrs2euler(&att.roll, &att.pitch, &att.yaw);
    ahrs2quat(att.q);
    att.sp_roll = movavg(ma_spr, att.sp_roll, sp_ma_id, 10);
    att.sp_pitch = movavg(ma_spp, att.sp_pitch, sp_ma_id, 10);
    att.sp_yaw = movavg(ma_spy, att.sp_yaw, sp_ma_id, 10);
    if ((++sp_ma_id) == 10)
      sp_ma_id = 0;
#ifdef REC_ATT
    memcpy(&att_data.roll, &att.roll, 24);
    rec_data(&att_data);
#endif
    vTaskDelay(pdMS_TO_TICKS(2));
  }
}

static void tof_task(void *param)
{
  uint8_t is_ready = 0;
  uint8_t range_status;
  uint16_t d;
  struct rec_tof tof_data = {
    REC_MARK_TOF, 0, 0
  };

  while (1) {
    VL53L1X_CheckForDataReady(VL53L1X_ADDR, &is_ready);

    if (is_ready) {
      is_ready = 0;
      VL53L1X_GetRangeStatus(VL53L1X_ADDR, &range_status);

      if (!range_status) {
        VL53L1X_GetDistance(VL53L1X_ADDR, &d);
        sensor.distance = d;
        pos.distance = (float)d * 0.001;
#ifdef REC_TOF
        tof_data.distance = (uint32_t)d;
        rec_data(&tof_data);
#endif
      }
      VL53L1X_ClearInterrupt(VL53L1X_ADDR);
    }
    vTaskDelay(pdMS_TO_TICKS(50));
  }
}

static void gps_task(void *param)
{
  uint8_t *idle_buf_ptr;
  uint8_t CK_A, CK_B;
  uint16_t i, length;
  uint8_t start_flag = 1;

  while (1) {
    if (start_flag) {
      gps_rx_buf_id = 0;
      gps_rx_ptr = gps_buffer[gps_rx_buf_id];
      idle_buf_ptr = gps_buffer[!gps_rx_buf_id];
      gps_nav_sol_data = (struct gps_nav_sol *)(idle_buf_ptr + 4);
      gps_rx_cnt = 0;
      gps_receive_status = GPS_RECEIVE_SYNC_1;
      gps_sv_status = 0;
      __HAL_UART_ENABLE_IT(&huart2, UART_IT_RXNE);
      start_flag = 0;
    }
    ulTaskNotifyTake(pdFALSE, portMAX_DELAY);
    idle_buf_ptr = gps_buffer[!gps_rx_buf_id];
    gps_nav_sol_data = (struct gps_nav_sol *)(idle_buf_ptr + 4);
    length = *(idle_buf_ptr + 2) | ((uint16_t)(*(idle_buf_ptr + 3)) << 8);
    CK_A = 0;
    CK_B = 0;
    /* Calculate GPS checksum */
    for (i = 0; i < (length + 4); i++) {
      CK_A += *idle_buf_ptr++;
      CK_B += CK_A;
    }
    if ((*idle_buf_ptr == CK_A) && (*(idle_buf_ptr + 1) == CK_B))
      gps_sv_status = gps_nav_sol_data->numSV;
    else
      gps_sv_status = 0;
  }
}

static void sd_task(void *param)
{
  FATFS fs;
  FIL fil;
  FRESULT fres;
  char buffer[512];
  UINT size, rm;
  BaseType_t buf_reset_status = 0;
  DSTATUS init_status;
  uint8_t status;
  uint8_t process;

  while(1) {
    process = rec_status & REC_STATUS_PROCESS_MASK;
    if (process == REC_STATUS_PROCESS_UNDONE) {
      size = xStreamBufferReceive(sd_buf_handler, buffer, 512,
                                  pdMS_TO_TICKS(100));
      f_write(&fil, buffer, size, &rm);

      if (size != rm) {
        rec_status &= ~REC_STATUS_PROCESS_MASK;
        rec_status |= REC_STATUS_PROCESS_END | REC_STATUS_WRITE_SD_ERROR;
      }
    } else if (process == REC_STATUS_PROCESS_INIT) {
      /* Try to initialize SD card first */
      init_status = disk_initialize(0);

      if (init_status == 0) {
        #if defined(REC_ONE_CYCLE_MODE)
          rec_status = REC_STATUS_PROCESS_START;
        #elif defined(REC_THROTTLE_TRIGGER_MODE)
          rec_status = REC_STATUS_PROCESS_IDLE;
        #endif
      } else {
        vTaskDelay(pdMS_TO_TICKS(1000));
      }
    } else if (process == REC_STATUS_PROCESS_IDLE) {
      vTaskDelay(pdMS_TO_TICKS(1000));
    } else if (process == REC_STATUS_PROCESS_START) {
      buf_reset_status = xStreamBufferReset(sd_buf_handler);
      status = rec_status;

      if (buf_reset_status == pdPASS) {
        f_mount(&fs, "", 0);
        fres = f_open(&fil, "uav_rec.txt", FA_CREATE_ALWAYS | FA_WRITE);

        if (fres == FR_OK) {
          status &= ~REC_STATUS_FILESYSTEM_ERROR;
          status = REC_STATUS_PROCESS_UNDONE;
        } else {
          status = REC_STATUS_PROCESS_IDLE | REC_STATUS_FILESYSTEM_ERROR;
        }

        status &= ~REC_STATUS_BUFFER_RESET_ERROR;
      } else {
        status |= REC_STATUS_PROCESS_IDLE | REC_STATUS_BUFFER_RESET_ERROR;
      }
      /* Delay 100 ms to wait send/receive buffer completed */
      vTaskDelay(pdMS_TO_TICKS(100));
      rec_status = status;
    } else if (process == REC_STATUS_PROCESS_END) {
      rec_status &= ~REC_STATUS_PROCESS_MASK;
      rec_status |= REC_STATUS_PROCESS_IDLE;
      f_close(&fil);
      f_mount(NULL, "", 0);
      SEGGER_SYSVIEW_Print("sd_close");
    }
  }
}

static void adc_task(void *param)
{
  uint16_t data[2];
  uint8_t start_flag = 1;
  uint8_t id = 0, i;
  float movavg_data[ADC_MA_WINDOW_SIZE] = {0};
  float total;
  struct rec_battery bat_data = {
    REC_MARK_BATTERY, 0, 0, 0
  };

  while (1) {
    if (start_flag) {
      HAL_ADC_Start_DMA(&hadc1, (uint32_t *)data, 2);
      start_flag = 0;
    }
    ulTaskNotifyTake(pdFALSE, portMAX_DELAY);
    /* Moving Average (10 samples) */
    /* Voltage = adc / 4096 * 3.3 / 10k * (10k + 51k) */
    movavg_data[id] = (float)data[0] * 0.0049145507f;
    total = 0;
    for (i = 0; i < ADC_MA_WINDOW_SIZE; i++) {
      total += movavg_data[i];
    }
    if ((++id) >= ADC_MA_WINDOW_SIZE)
      id = 0;
    bat.voltage = total / ADC_MA_WINDOW_SIZE;
    /* Original current = ((adc / 4096 * 3.3) - 2.4677) / 0.0328
     * Vcc: 5V, Current direction: negative, Range: 0 ~ 2.5V
     * Current = (2.4677 - (adc / 4096 * 3.3)) / 0.0328 */
    bat.current = 2.4677f - (float)data[1] * 0.00080566406f;
    bat.current /= 0.0328f;
#ifdef REC_BATTERY
    bat_data.voltage = bat.voltage;
    bat_data.current = bat.current;
    rec_data(&bat_data);
#endif
  }
}

struct PID_param {
  float P;
  float I;
  float D;
  float last_err;
  float int_err;
  float output;
};

void set_PID(struct PID_param *PID, float P, float I, float D)
{
  if (P >= 0 && P < 6)
    PID->P = P;
  if (I >= 0 && I < 6)
    PID->I = I;
  if (D >= 0 && D < 255)
    PID->D = D;
}

void PID_control(struct PID_param *PID, float err, float freq)
{
  float new_int_err = PID->int_err + err;
  float int_output = PID->I * new_int_err / freq;

  if (fabsf(int_output) < MAX_THRUST * 0.3f) {
    PID->int_err = new_int_err;
  }
  PID->output = (PID->P * err) + int_output + PID->D * (err - PID->last_err);
  PID->last_err = err;
}

uint16_t thrust2duty(float thrust)
{
  float duty;

  if (thrust < MIN_THRUST) /* limit min thrust */
    thrust = 0.35f;
  else if (thrust > MAX_THRUST) /* limit max thrust */
    thrust = 7.f;
  /* duty = (sqrtf(thrust * 3420) - 18) * 12.5 */
  duty = (sqrtf(thrust) * 58.480766f - 18) * 12.5f;

  return (uint16_t)duty;
}

/**
 * @brief normalize output if saturation is occured
 *
 * @param thro_thrust input throttle
 * @param offset fault motor offset
 * @param abs_output absolute output of every err (ex: |r_out| + |p_out|)
 * @return float saturation ratio
 */
float saturated_ctrl(float thro_thrust, float offset, float abs_output)
{
  float upper_range, lower_range;
  float upper_saturation_ratio, lower_saturation_ratio;
  float saturation_ratio;

  saturation_ratio = 1;
  upper_range = MAX_THRUST - thro_thrust - offset;
  lower_range = thro_thrust - offset - MIN_THRUST;
  upper_saturation_ratio = abs_output / upper_range;
  lower_saturation_ratio = abs_output / lower_range;

  if ((upper_range > 0.f) &&
      (lower_range < (thro_thrust - MIN_THRUST) * 0.4f) &&
      (offset > 0.f)) {
    if (abs_output > upper_range)
      saturation_ratio = upper_saturation_ratio;
  } else if ((upper_range > 0.f) && (lower_range > 0.f)) {
    if ((abs_output > upper_range) && (abs_output > lower_range)) {
      if (upper_saturation_ratio > lower_saturation_ratio)
        saturation_ratio = upper_saturation_ratio;
      else
        saturation_ratio = lower_saturation_ratio;
    } else if (abs_output > upper_range) {
      saturation_ratio = upper_saturation_ratio;
    } else if (abs_output > lower_range) {
      saturation_ratio = lower_saturation_ratio;
    }
  } else {
    saturation_ratio = 1000.f; /* if range = 0, force ctrl output ~ 0 */
  }
  return saturation_ratio;
}

/**
 * @brief check which motor fault
 *
 * @param roll_err roll error
 * @param pitch_err pitch error
 * @param yaw_err yaw error
 * @param yaw_gain yaw gain
 * @param threshold
 * @return int 0: no failure / 1-4: motor(1-4) fault
 */
int check_fault(float roll_err, float pitch_err, float yaw_err,
                float threshold)
{
  float abs_r_err = fabsf(roll_err);
  float abs_p_err = fabsf(pitch_err);
  float abs_y_err = fabsf(yaw_err);
  float total_err;

  total_err = abs_r_err + abs_p_err + abs_y_err;
  if (total_err > threshold) {
    if ((roll_err > 0) && (pitch_err > 0))
      return 1;
    else if ((roll_err < 0) && (pitch_err > 0))
      return 2;
    else if ((roll_err < 0) && (pitch_err < 0))
      return 3;
    else if ((roll_err > 0) && (pitch_err < 0))
      return 4;
  }
  return 0;
}

static void ctrl_task(void *param)
{
  uint16_t thro_duty;
  float thro_thrust;
  float rp_output[4];
  float q[4];
  float sp_r, sp_p, sp_y;
  float err[3];
  float rp_err;
  float P1 = 0.5f;
  float I1 = 0.05f;
  float D1 = 20.f;
  struct PID_param PID_roll;
  struct PID_param PID_pitch;
  struct PID_param PID_yaw;
  struct PID_param PID2_roll;
  struct PID_param PID2_pitch;
  struct PID_param PID2_yaw;
  float last_err[3] = {0}, verr[3] = {0};
  float abs_output;
  float saturation_ratio;
  float fault_offset = 0, tmp_rp_output;
  float upper_offset_limit, lower_offset_limit, max_offset;
  uint8_t diag_motor_id[] = {2, 3, 0, 1};
  uint8_t mode = NORMAL_MODE;
  struct rec_ctrl ctrl_data = {
    REC_MARK_CTRL, 0, 0, {0}, 0, 0, 0, 0, 0
  };
  /* M1 (CCW) M2 (CW)
   * M4 (CW)  M3 (CCW) */
  while (1) {
    vTaskSuspendAll();
    thro_duty = throttle;
    memcpy(q, att.q, 4 * sizeof(float));
    sp_r = att.sp_roll;
    sp_p = att.sp_pitch;
    sp_y = att.sp_yaw;
    P1 = ctrl_param.P;
    I1 = ctrl_param.I;
    D1 = ctrl_param.D;
    mode = ctrl_param.mode;
    xTaskResumeAll();

    if (thro_duty < 400) {
#ifdef REC_THROTTLE_TRIGGER_MODE
      if ((rec_status & REC_STATUS_PROCESS_MASK) ==
           REC_STATUS_PROCESS_UNDONE) {
        rec_status &= ~REC_STATUS_PROCESS_MASK;
        rec_status |= REC_STATUS_PROCESS_END;
      }
#endif
      motor[0] = thro_duty;
      motor[1] = thro_duty;
      motor[2] = thro_duty;
      motor[3] = thro_duty;

      PID_roll.last_err = 0.f;
      PID_pitch.last_err = 0.f;
      PID_yaw.last_err = 0.f;
      PID_roll.int_err = 0.f;
      PID_pitch.int_err = 0.f;
      PID_yaw.int_err = 0.f;
      PID2_roll.last_err = 0.f;
      PID2_pitch.last_err = 0.f;
      PID2_yaw.last_err = 0.f;
      PID2_roll.int_err = 0.f;
      PID2_pitch.int_err = 0.f;
      PID2_yaw.int_err = 0.f;
      memset(last_err, 0, sizeof(last_err));
      memset(verr, 0, sizeof(verr));
      motor_fault_id = 0;
      fault_offset = 0.f;
      tmp_rp_output = 0.f;
    } else {
#ifdef REC_THROTTLE_TRIGGER_MODE
      if ((rec_status & REC_STATUS_PROCESS_MASK) == REC_STATUS_PROCESS_IDLE) {
        rec_status &= ~REC_STATUS_PROCESS_MASK;
        rec_status |= REC_STATUS_PROCESS_START;
      }
#endif
      thro_thrust = (float)thro_duty * 0.08f + 18.2f;
      thro_thrust *= thro_thrust * 0.0002924f;
      attitude_err(q, sp_r, sp_p, sp_y, err);
      /* PID loop */
      set_PID(&PID_roll, P1, I1, 0);
      set_PID(&PID_pitch, P1, I1, 0);
      set_PID(&PID_yaw, 3.f, 0, 0);
      PID_control(&PID_roll, err[0], CTRL_FREQ);
      PID_control(&PID_pitch, err[1], CTRL_FREQ);
      PID_control(&PID_yaw, err[2], CTRL_FREQ);
      verr[0] = (err[0] - last_err[0]) * CTRL_FREQ;
      last_err[0] = err[0];
      verr[1] = (err[1] - last_err[1]) * CTRL_FREQ;
      last_err[1] = err[1];
      verr[2] = (err[2] - last_err[2]) * CTRL_FREQ;
      last_err[2] = err[2];
      set_PID(&PID2_roll, 0.3f, 0.1f, 0);
      set_PID(&PID2_pitch, 0.3f, 0.1f, 0);
      set_PID(&PID2_yaw, 0.5f, 0.1f, 0);
      PID_control(&PID2_roll, PID_roll.output + verr[0], CTRL_FREQ);
      PID_control(&PID2_pitch, PID_pitch.output + verr[1], CTRL_FREQ);
      PID_control(&PID2_yaw, PID_yaw.output + verr[2], CTRL_FREQ);
      /* Prevent saturation */
      abs_output = fabsf(PID2_roll.output) + fabsf(PID2_pitch.output);
      if (motor_fault_id == 0) {
        abs_output += fabsf(PID_yaw.output);
        saturation_ratio = saturated_ctrl(thro_thrust, 0, abs_output);
        PID2_roll.output /= saturation_ratio;
        PID2_pitch.output /= saturation_ratio;
        PID2_yaw.output /= saturation_ratio;
      } else {
        saturation_ratio = saturated_ctrl(thro_thrust, fault_offset,
                                          abs_output);
        PID2_roll.output /= saturation_ratio;
        PID2_pitch.output /= saturation_ratio;
      }
      /* Compute roll/pitch output of 4 motors */
      rp_output[0] = PID2_roll.output + PID2_pitch.output;
      rp_output[1] = -PID2_roll.output + PID2_pitch.output;
      rp_output[2] = -PID2_roll.output - PID2_pitch.output;
      rp_output[3] = PID2_roll.output - PID2_pitch.output;

      if (mode == NORMAL_MODE) {
        motor[0] = thrust2duty(thro_thrust + rp_output[0] - PID2_yaw.output);
        motor[1] = thrust2duty(thro_thrust + rp_output[1] + PID2_yaw.output);
        motor[2] = thrust2duty(thro_thrust + rp_output[2] - PID2_yaw.output);
        motor[3] = thrust2duty(thro_thrust + rp_output[3] + PID2_yaw.output);

        motor_fault_id = 0;
        fault_offset = 0;
        tmp_rp_output = 0;
      } else if (mode == TEST_FAULT_MODE) {
        if (motor_fault_id == 0) {
          motor_fault_id = check_fault(err[0], err[1], err[2], 0.52);
          motor[0] = thrust2duty(thro_thrust + rp_output[0] - PID2_yaw.output);
          motor[1] = thrust2duty(thro_thrust + rp_output[1] + PID2_yaw.output);
          motor[2] = thrust2duty(thro_thrust + rp_output[2] - PID2_yaw.output);
          motor[3] = thrust2duty(thro_thrust + rp_output[3] + PID2_yaw.output);
        } else {
          rp_err = sqrtf((err[0] * err[0]) + (err[1] * err[1]));
          tmp_rp_output = -rp_output[diag_motor_id[motor_fault_id - 1]];
          /* < ~5.7 deg (0.1 rad) */
          if ((rp_err > 0.1f) && (tmp_rp_output > fault_offset)) {
            upper_offset_limit = MAX_THRUST - thro_thrust;
            lower_offset_limit = thro_thrust - MIN_THRUST;
            if (upper_offset_limit > lower_offset_limit)
              max_offset = lower_offset_limit;
            else
              max_offset = upper_offset_limit;
            if (tmp_rp_output < max_offset)
              fault_offset = tmp_rp_output;
            else
              fault_offset = max_offset;
          }
          if ((motor_fault_id == 1) || (motor_fault_id == 3)) {
            motor[0] = thrust2duty(thro_thrust - fault_offset + rp_output[0]);
            motor[1] = thrust2duty(thro_thrust + fault_offset + rp_output[1]);
            motor[2] = thrust2duty(thro_thrust - fault_offset + rp_output[2]);
            motor[3] = thrust2duty(thro_thrust + fault_offset + rp_output[3]);
          } else if ((motor_fault_id == 2) || (motor_fault_id == 4)) {
            motor[0] = thrust2duty(thro_thrust + fault_offset + rp_output[0]);
            motor[1] = thrust2duty(thro_thrust - fault_offset + rp_output[1]);
            motor[2] = thrust2duty(thro_thrust + fault_offset + rp_output[2]);
            motor[3] = thrust2duty(thro_thrust - fault_offset + rp_output[3]);
          }
        }
        if (motor[0] > thrust2duty(thro_thrust * (1 - fault_ratio)))
          motor[0] = thrust2duty(thro_thrust * (1 - fault_ratio));
      }
    }
#ifdef REC_CTRL
    ctrl_data.throttle = (uint32_t)thro_duty;
    memcpy(ctrl_data.motor, motor, sizeof(motor));
    memcpy(&ctrl_data.ex, err, sizeof(err));
    ctrl_data.offset = fault_offset;
    ctrl_data.fault_motor = (uint32_t)motor_fault_id;
    rec_data(&ctrl_data);
#endif
    /* arr range for ESC: 2000 - 3999 */
    __HAL_TIM_SET_COMPARE(&htim4, TIM_CHANNEL_1, MOTOR_DUTY_RANGE + motor[0]);
    __HAL_TIM_SET_COMPARE(&htim4, TIM_CHANNEL_2, MOTOR_DUTY_RANGE + motor[1]);
    __HAL_TIM_SET_COMPARE(&htim4, TIM_CHANNEL_3, MOTOR_DUTY_RANGE + motor[2]);
    __HAL_TIM_SET_COMPARE(&htim4, TIM_CHANNEL_4, MOTOR_DUTY_RANGE + motor[3]);

    vTaskDelay(pdMS_TO_TICKS(10));
  }
}

static void msg_task(void *param)
{
  BaseType_t radio_wm = 0, sensor_wm = 0, tof_wm = 0, gps_wm = 0;
  BaseType_t sd_wm = 0, adc_wm = 0, ctrl_wm = 0, msg_wm = 0;
  BaseType_t min_remaining, remaining;
  char msg[512];
  uint16_t size;
  float r, p, y;

	while (1) {
    /* encode ack payload */
    vTaskSuspendAll();
    ENCODE_PAYLOAD_THROTTLE(throttle, ack_pl.throttle);
    ENCODE_PAYLOAD_MOTOR(motor[0], ack_pl.motor[0]);
    ENCODE_PAYLOAD_MOTOR(motor[1], ack_pl.motor[1]);
    ENCODE_PAYLOAD_MOTOR(motor[2], ack_pl.motor[2]);
    ENCODE_PAYLOAD_MOTOR(motor[3], ack_pl.motor[3]);
    ENCODE_PAYLOAD_RADIUS(att.roll, ack_pl.roll);
    ENCODE_PAYLOAD_RADIUS(att.pitch, ack_pl.pitch);
    ENCODE_PAYLOAD_RADIUS(att.yaw, ack_pl.yaw);
    ENCODE_PAYLOAD_HEIGHT(pos.height, ack_pl.height);
    ENCODE_PAYLOAD_VOLTAGE(bat.voltage, ack_pl.voltage);
    ENCODE_PAYLOAD_REC_STATUS(rec_status, ack_pl.rec_status);
    ENCODE_PAYLOAD_GPS_SV_STATUS(gps_sv_status, ack_pl.gps_sv_status);
    ENCODE_PAYLOAD_GPS_PACC(gps_nav_sol_data->pAcc, ack_pl.gps_pAcc);
    r = att.roll * RAD2DEG;
    p = att.pitch * RAD2DEG;
    y = att.yaw * RAD2DEG;
    xTaskResumeAll();

    radio_wm = uxTaskGetStackHighWaterMark(radio_handler);
    sensor_wm = uxTaskGetStackHighWaterMark(sensor_handler);
    // tof_wm = uxTaskGetStackHighWaterMark(tof_handler);
    gps_wm = uxTaskGetStackHighWaterMark(gps_handler);
    sd_wm = uxTaskGetStackHighWaterMark(sd_handler);
    adc_wm = uxTaskGetStackHighWaterMark(adc_handler);
    ctrl_wm = uxTaskGetStackHighWaterMark(ctrl_handler);
    msg_wm = uxTaskGetStackHighWaterMark(msg_handler);

    min_remaining = xPortGetMinimumEverFreeHeapSize();
    remaining = xPortGetFreeHeapSize();

		size = snprintf(msg, 512, "r: %.3f, p: %.3f, y: %.3f, "
                    "rsp: %.3f, psp: %.3f, ysp: %.3f\r\n"
                    "hsp: %.2f, h: %.2f, d: %d, V: %.2f, I: %.2f\r\n"
                    "throttle: %d, m0: %d, m1: %d, m2: %d, m3: %d\r\n"
                    "P1: %.2f, I1: %.2f, D1: %.2f\r\n"
                    "mode: %d, fault ratio: %.1f, fault id: %d\r\n"
                    "stack wm:\r\n"
                    "radio: %ld, sensor: %ld, tof: %ld, gps: %ld\r\n"
                    "sd: %ld, adc: %ld, ctrl: %ld, msg: %ld\r\n"
                    "min rm: %ld, cur rm: %ld, rec status: %d\r\n"
                    "current tick: %ld\r\n"
                    "gps:\r\n"
                    "iTOW: %ld, gpsFix: %d\r\n"
                    "ecefX: %ld, ecefY: %ld, ecefZ: %ld\r\n"
                    "pAcc: %ld, numSV: %d\r\n",
			              att.roll, att.pitch, att.yaw,
                    att.sp_roll, att.sp_pitch, att.sp_yaw,
             		    pos.sp_height, pos.height, sensor.distance,
                    bat.voltage, bat.current,
                    throttle, motor[0], motor[1], motor[2], motor[3],
                    ctrl_param.P, ctrl_param.I, ctrl_param.D,
                    ctrl_param.mode, fault_ratio, motor_fault_id,
                    radio_wm, sensor_wm, tof_wm, gps_wm,
                    sd_wm, adc_wm, ctrl_wm, msg_wm,
                    min_remaining, remaining, rec_status, current_tick,
                    gps_nav_sol_data->iTOW, gps_nav_sol_data->gpsFix,
                    gps_nav_sol_data->ecefX, gps_nav_sol_data->ecefY,
                    gps_nav_sol_data->ecefZ, gps_nav_sol_data->pAcc,
                    gps_nav_sol_data->numSV);
    // size = snprintf(msg, 512, "0.0,0.0,0.0,0.0,0.0,0.0,%.2f,%.2f,%.2f\n", r, p, y);
    CDC_Transmit_FS((uint8_t *)msg, size);
    vTaskDelay(pdMS_TO_TICKS(20));
	}
}
/* USER CODE END 4 */

void HAL_TIM_PeriodElapsedCallback(TIM_HandleTypeDef *htim)
{
  if (htim->Instance == TIM1) {
    HAL_IncTick();
  }
  /* USER CODE BEGIN Callback 1 */
  if (htim->Instance == TIM9) {
    uint16_t count = Timer1;

    if (count)
      Timer1 = --count;
    count = Timer2;
    if (count)
      Timer2 = --count;
  }
  /* USER CODE END Callback 1 */
}

void Error_Handler(void)
{
  /* USER CODE BEGIN Error_Handler_Debug */
	/* User can add his own implementation to report the HAL error return
	 * state */
	__disable_irq();
	while (1) {
	}
  /* USER CODE END Error_Handler_Debug */
}

#ifdef  USE_FULL_ASSERT
/**
  * @brief  Reports the name of the source file and the source line number
  *         where the assert_param error has occurred.
  * @param  file: pointer to the source file name
  * @param  line: assert_param error line source number
  * @retval None
  */
void assert_failed(uint8_t *file, uint32_t line)
{
  /* USER CODE BEGIN 6 */
	/* User can add his own implementation to report the file name and line
	   number, ex: printf("Wrong parameters value: file %s on line %d\r\n",
	   file, line) */
  /* USER CODE END 6 */
}
#endif /* USE_FULL_ASSERT */
